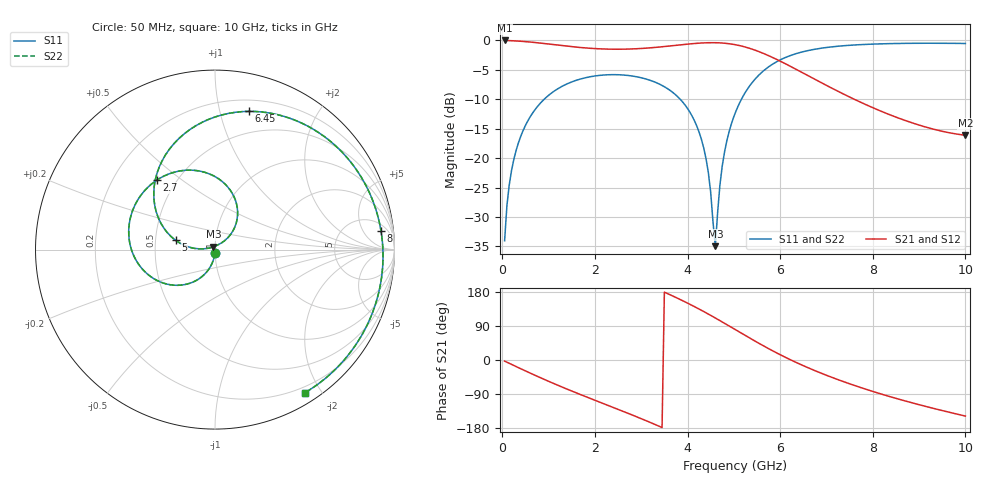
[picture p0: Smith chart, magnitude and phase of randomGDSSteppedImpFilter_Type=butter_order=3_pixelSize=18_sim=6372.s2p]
! freq	dB(S11)	phase(S11)	dB(S12)	phase(S12)
!  dB(S21)	phase(S21)	dB(S22)	phase(S22)
!S-par simulation data
#  GHz  S  DB  R 50
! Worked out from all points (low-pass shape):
!   200 points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, 50 MHz to 10 GHz, reference 50 ohm
!   highest |S21| = 0.00 dB at 50 MHz (marker M1); lowest = -16.1 dB at 10 GHz (marker M2)
!   |S21| within 3 dB of the highest: start of sweep to 5.866 GHz
!   lowest |S11| = -35.0 dB at 4.6 GHz (marker M3), VSWR 1.04, Z = 49.1 + j1.52 ohm
!   |S11| at or under -10 dB: start of sweep to 903.8 MHz; 3.842 GHz to 5.164 GHz (1.322 GHz wide, 29.4 % of centre)
!   |S22| runs from -35.2 to -0.5 dB; largest |S21 - S12| = 0
!   S11 on the Smith chart (normalised r, x): 50 MHz: 1.00, -0.04; 2.7 GHz: 0.39, +0.41; 5 GHz: 0.64, +0.07; 6.45 GHz: 0.30, +1.23; 8 GHz: 8, +13; 10 GHz: 0.13, -1.80
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0.05  -34.04 -92.9  -0.00 -2.9  -0.00 -2.9  -34.04 -92.9
0.1  -28.04 -96.0  -0.02 -5.9  -0.02 -5.9  -28.04 -96.0
0.2  -22.08 -102.0  -0.05 -11.7  -0.05 -11.7  -22.08 -102.0
0.5  -14.45 -119.4  -0.20 -28.8  -0.20 -28.8  -14.45 -119.4
1.1  -8.72 -152.1  -0.70 -61.5  -0.70 -61.5  -8.72 -152.1
1.75  -6.43 175.2  -1.25 -94.2  -1.25 -94.2  -6.43 175.2
2.7  -5.94 129.7  -1.47 -140.0  -1.47 -140.0  -5.94 129.7
3.4  -7.44 94.7  -1.12 -175.5  -1.12 -175.5  -7.45 94.6
3.85  -10.07 70.4  -0.75 159.2  -0.75 159.2  -10.07 70.3
4.25  -15.58 48.6  -0.46 134.4  -0.46 134.4  -15.59 48.5
4.45  -22.49 42.9  -0.39 121.2  -0.39 121.2  -22.51 42.5
4.6  -34.95 119.8  -0.39 110.9  -0.39 110.9  -35.19 120.0
4.75  -21.30 177.3  -0.44 100.4  -0.44 100.4  -21.31 177.6
5  -12.94 166.7  -0.68 82.5  -0.68 82.5  -12.95 166.8
5.05  -11.93 163.6  -0.76 78.9  -0.76 78.9  -11.93 163.7
5.7  -4.79 120.7  -2.41 33.3  -2.41 33.3  -4.79 120.7
6.45  -2.01 76.1  -5.35 -12.2  -5.35 -12.2  -2.01 76.1
6.7  -1.57 63.0  -6.40 -25.5  -6.40 -25.5  -1.57 63.0
7.35  -0.91 32.6  -9.04 -56.3  -9.04 -56.3  -0.91 32.6
8  -0.62 6.4  -11.43 -83.0  -11.43 -83.0  -0.62 6.3
8.35  -0.54 -6.4  -12.57 -95.9  -12.57 -95.9  -0.54 -6.5
10  -0.52 -57.9  -16.10 -147.9  -16.10 -147.9  -0.52 -58.0
